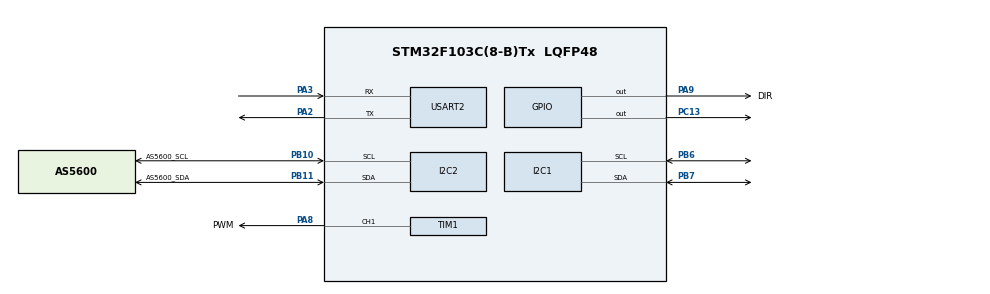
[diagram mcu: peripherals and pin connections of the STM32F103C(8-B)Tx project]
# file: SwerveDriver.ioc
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Dma.Request0=USART2_RX
Dma.USART2_RX.0.Direction=DMA_PERIPH_TO_MEMORY
Dma.USART2_RX.0.Instance=DMA1_Channel6
Dma.USART2_RX.0.MemDataAlignment=DMA_MDATAALIGN_BYTE
Dma.USART2_RX.0.MemInc=DMA_MINC_ENABLE
Dma.USART2_RX.0.Mode=DMA_CIRCULAR
Dma.USART2_RX.0.PeriphDataAlignment=DMA_PDATAALIGN_BYTE
Dma.USART2_RX.0.PeriphInc=DMA_PINC_DISABLE
Dma.USART2_RX.0.Priority=DMA_PRIORITY_LOW
I2C1.GeneralCallMode=I2C_GENERALCALL_ENABLE
I2C1.OwnAddress=0x15
Mcu.Family=STM32F1
Mcu.Name=STM32F103C(8-B)Tx
Mcu.Package=LQFP48
NVIC.DMA1_Channel6_IRQn=true\:0\:0\:false\:false\:true\:false\:true\:true
NVIC.I2C1_ER_IRQn=true\:0\:0\:false\:false\:true\:true\:true\:true
NVIC.I2C1_EV_IRQn=true\:0\:0\:false\:false\:true\:true\:true\:true
NVIC.I2C2_ER_IRQn=true\:0\:1\:true\:false\:true\:true\:true\:true
NVIC.I2C2_EV_IRQn=true\:0\:1\:true\:false\:true\:true\:true\:true
NVIC.PriorityGroup=NVIC_PRIORITYGROUP_2
NVIC.TIM1_CC_IRQn=true\:0\:1\:true\:false\:true\:true\:true\:true
NVIC.TIM1_UP_IRQn=true\:0\:1\:true\:false\:true\:true\:true\:true
NVIC.USART2_IRQn=true\:0\:0\:false\:false\:true\:true\:true\:true
PA13.Mode=Trace_Asynchronous_SW
PA13.Signal=SYS_JTMS-SWDIO
PA14.Mode=Trace_Asynchronous_SW
PA14.Signal=SYS_JTCK-SWCLK
PA2.Mode=Asynchronous
PA2.Signal=USART2_TX
PA3.Mode=Asynchronous
PA3.Signal=USART2_RX
PA8.GPIO_Label=PWM
PA8.GPIO_Speed=GPIO_SPEED_FREQ_MEDIUM
PA8.Signal=S_TIM1_CH1
PA9.GPIO_Label=DIR
PA9.Signal=GPIO_Output
PB10.GPIO_Label=AS5600_SCL
PB10.Mode=I2C
PB10.Signal=I2C2_SCL
PB11.GPIO_Label=AS5600_SDA
PB11.Mode=I2C
PB11.Signal=I2C2_SDA
PB3.Mode=Trace_Asynchronous_SW
PB3.Signal=SYS_JTDO-TRACESWO
PB6.Mode=I2C
PB6.Signal=I2C1_SCL
PB7.Mode=I2C
PB7.Signal=I2C1_SDA
PC13-TAMPER-RTC.GPIO_Speed=GPIO_SPEED_FREQ_HIGH
PC13-TAMPER-RTC.Signal=GPIO_Output
PD0-OSC_IN.Mode=HSE-External-Oscillator
PD0-OSC_IN.Signal=RCC_OSC_IN
PD1-OSC_OUT.Mode=HSE-External-Oscillator
PD1-OSC_OUT.Signal=RCC_OSC_OUT
ProjectManager.HeapSize=0x200
ProjectManager.StackSize=0x400
ProjectManager.TargetToolchain=Makefile
RCC.APB1Freq_Value=8000000
RCC.APB2Freq_Value=8000000
SH.S_TIM1_CH1.0=TIM1_CH1,PWM Generation1 CH1
TIM1.AutoReloadPreload=TIM_AUTORELOAD_PRELOAD_ENABLE
TIM1.Channel-PWM\ Generation1\ CH1=TIM_CHANNEL_1
TIM1.OCPolarity_1=TIM_OCPOLARITY_LOW
USART2.VirtualMode=VM_ASYNC
VP_TIM1_VS_ClockSourceINT.Mode=Internal
board=custom

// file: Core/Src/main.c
/* USER CODE BEGIN Header */
/**
 ******************************************************************************
 * @file           : main.c
 * @brief          : Main program body
 ******************************************************************************
 * @attention
 *
 * Copyright (c) 2023 STMicroelectronics.
 * All rights reserved.
 *
 * This software is licensed under terms that can be found in the LICENSE file
 * in the root directory of this software component.
 * If no LICENSE file comes with this software, it is provided AS-IS.
 *
 ******************************************************************************
 */
/* USER CODE END Header */
#include "main.h"

/* USER CODE BEGIN Includes */
#include "as5600.h"
#include "pid.h"
#include "math.h"
#include "stdbool.h"
#include "stdio.h"
#include "i2c_slave.h"
// #include "motor_control.h"

/* USER CODE END Includes */

/* USER CODE BEGIN PTD */
PID_TypeDef RPID;

/* USER CODE END PTD */

/* USER CODE BEGIN PD */
#define AS5600_1_AInit 180
#define PWM_Freq 5000

/* USER CODE END PD */

I2C_HandleTypeDef hi2c1;
I2C_HandleTypeDef hi2c2;

TIM_HandleTypeDef htim1;

UART_HandleTypeDef huart2;
DMA_HandleTypeDef hdma_usart2_rx;

/* USER CODE BEGIN PV */
uint8_t checkAS = 1;
uint32_t count = 0;
uint32_t period;

// vaiables for AS5600
float Angle = 180.0f;

// variables for PID
double Angle_Temp, PIDOut, TempSetpoint;
float Kp, Ki, Kd;

// variables for I2C slave
uint16_t Self_Address = 0x15 << 1;
bool I2C_flag = 0;
bool Init_Flag = 1;

/* USER CODE END PV */

void SystemClock_Config(void);
static void MX_GPIO_Init(void);
static void MX_DMA_Init(void);
static void MX_TIM1_Init(void);
static void MX_I2C2_Init(void);
static void MX_USART2_UART_Init(void);
static void MX_I2C1_Init(void);

/* USER CODE BEGIN 0 */
void PID_Setup()
{
  PID(&RPID, &Angle_Temp, &PIDOut, &TempSetpoint, 3, 0.2, 0.0001, _PID_P_ON_E, _PID_CD_DIRECT);
  PID_SetMode(&RPID, _PID_MODE_AUTOMATIC);
  PID_SetSampleTime(&RPID, 1);
  PID_SetOutputLimits(&RPID, -20, 20);
  TempSetpoint = AS5600_1_AInit;
}

void Config_Tim1PWM()
{
  uint32_t period = (SystemCoreClock / PWM_Freq) - 1;
  htim1.Instance->ARR = period;
}

void PWM_Gen(uint8_t channel, uint32_t duty)
{
  switch (channel)
  {
  case 1:
    duty == 0 ? HAL_TIM_PWM_Stop(&htim1, TIM_CHANNEL_1) : HAL_TIM_PWM_Start(&htim1, TIM_CHANNEL_1);
    htim1.Instance->CCR1 = (period * duty) / 100;
    break;
  case 2:
    duty == 0 ? HAL_TIM_PWM_Stop(&htim1, TIM_CHANNEL_2) : HAL_TIM_PWM_Start(&htim1, TIM_CHANNEL_2);
    htim1.Instance->CCR2 = (period * duty) / 100;
    break;
  case 3:
    duty == 0 ? HAL_TIM_PWM_Stop(&htim1, TIM_CHANNEL_3) : HAL_TIM_PWM_Start(&htim1, TIM_CHANNEL_3);
    htim1.Instance->CCR3 = (period * duty) / 100;
    break;
  case 4:
    duty == 0 ? HAL_TIM_PWM_Stop(&htim1, TIM_CHANNEL_4) : HAL_TIM_PWM_Start(&htim1, TIM_CHANNEL_4);
    htim1.Instance->CCR4 = (period * duty) / 100;
    break;
  case 0:
    HAL_TIM_PWM_Stop(&htim1, TIM_CHANNEL_ALL);
    HAL_TIM_Base_Stop_IT(&htim1);
    break;
  default:
    break;
  }
}

void PID_Control()
{
  Angle_Temp = AS5600_GetAngle();
  PID_Compute(&RPID);
  HAL_GPIO_WritePin(DIR_GPIO_Port, DIR_Pin, PIDOut < 0);
  PWM_Gen(1, fabs(PIDOut));
}

void HAL_TIM_PeriodElapsedCallback(TIM_HandleTypeDef *htim)
{
  if (htim->Instance == TIM1)
  {
    PID_Compute(&RPID);
  }
}

/* USER CODE END 0 */

int main(void)
{

  /* MCU Configuration--------------------------------------------------------*/

  /* Reset of all peripherals, Initializes the Flash interface and the Systick. */
  HAL_Init();

  /* Configure the system clock */
  SystemClock_Config();

  /* Initialize all configured peripherals */
  MX_GPIO_Init();
  MX_DMA_Init();
  MX_TIM1_Init();
  MX_I2C2_Init();
  MX_USART2_UART_Init();
  MX_I2C1_Init();
  /* USER CODE BEGIN 2 */
  Config_Tim1PWM();
  HAL_TIM_Base_Start_IT(&htim1);
  HAL_TIM_PWM_Start(&htim1, TIM_CHANNEL_1);

  PID_Setup();

  HAL_GPIO_WritePin(GPIOC, GPIO_PIN_13, 0);

  if (HAL_I2C_EnableListen_IT(&hi2c1) != HAL_OK)
  {
    Error_Handler();
  }

  /* USER CODE END 2 */

  /* Infinite loop */
  /* USER CODE BEGIN WHILE */
  while (1)
  {

    TempSetpoint = (double)Return_Data();
    PID_Control();
    /* USER CODE END WHILE */

  }
}

void SystemClock_Config(void)
{
  RCC_OscInitTypeDef RCC_OscInitStruct = {0};
  RCC_ClkInitTypeDef RCC_ClkInitStruct = {0};

  /** Initializes the RCC Oscillators according to the specified parameters
   * in the RCC_OscInitTypeDef structure.
   */
  RCC_OscInitStruct.OscillatorType = RCC_OSCILLATORTYPE_HSI;
  RCC_OscInitStruct.HSIState = RCC_HSI_ON;
  RCC_OscInitStruct.HSICalibrationValue = RCC_HSICALIBRATION_DEFAULT;
  RCC_OscInitStruct.PLL.PLLState = RCC_PLL_NONE;
  if (HAL_RCC_OscConfig(&RCC_OscInitStruct) != HAL_OK)
  {
    Error_Handler();
  }

  /** Initializes the CPU, AHB and APB buses clocks
   */
  RCC_ClkInitStruct.ClockType = RCC_CLOCKTYPE_HCLK | RCC_CLOCKTYPE_SYSCLK | RCC_CLOCKTYPE_PCLK1 | RCC_CLOCKTYPE_PCLK2;
  RCC_ClkInitStruct.SYSCLKSource = RCC_SYSCLKSOURCE_HSI;
  RCC_ClkInitStruct.AHBCLKDivider = RCC_SYSCLK_DIV1;
  RCC_ClkInitStruct.APB1CLKDivider = RCC_HCLK_DIV1;
  RCC_ClkInitStruct.APB2CLKDivider = RCC_HCLK_DIV1;

  if (HAL_RCC_ClockConfig(&RCC_ClkInitStruct, FLASH_LATENCY_0) != HAL_OK)
  {
    Error_Handler();
  }
}

static void MX_I2C1_Init(void)
{

  hi2c1.Instance = I2C1;
  hi2c1.Init.ClockSpeed = 100000;
  hi2c1.Init.DutyCycle = I2C_DUTYCYCLE_2;
  hi2c1.Init.OwnAddress1 = 42;
  hi2c1.Init.AddressingMode = I2C_ADDRESSINGMODE_7BIT;
  hi2c1.Init.DualAddressMode = I2C_DUALADDRESS_DISABLE;
  hi2c1.Init.OwnAddress2 = 0;
  hi2c1.Init.GeneralCallMode = I2C_GENERALCALL_ENABLE;
  hi2c1.Init.NoStretchMode = I2C_NOSTRETCH_DISABLE;
  if (HAL_I2C_Init(&hi2c1) != HAL_OK)
  {
    Error_Handler();
  }
}

static void MX_I2C2_Init(void)
{

  hi2c2.Instance = I2C2;
  hi2c2.Init.ClockSpeed = 100000;
  hi2c2.Init.DutyCycle = I2C_DUTYCYCLE_2;
  hi2c2.Init.OwnAddress1 = 0;
  hi2c2.Init.AddressingMode = I2C_ADDRESSINGMODE_7BIT;
  hi2c2.Init.DualAddressMode = I2C_DUALADDRESS_DISABLE;
  hi2c2.Init.OwnAddress2 = 0;
  hi2c2.Init.GeneralCallMode = I2C_GENERALCALL_DISABLE;
  hi2c2.Init.NoStretchMode = I2C_NOSTRETCH_DISABLE;
  if (HAL_I2C_Init(&hi2c2) != HAL_OK)
  {
    Error_Handler();
  }
}

static void MX_TIM1_Init(void)
{

  TIM_ClockConfigTypeDef sClockSourceConfig = {0};
  TIM_MasterConfigTypeDef sMasterConfig = {0};
  TIM_OC_InitTypeDef sConfigOC = {0};
  TIM_BreakDeadTimeConfigTypeDef sBreakDeadTimeConfig = {0};

  htim1.Instance = TIM1;
  htim1.Init.Prescaler = 0;
  htim1.Init.CounterMode = TIM_COUNTERMODE_UP;
  htim1.Init.Period = 65535;
  htim1.Init.ClockDivision = TIM_CLOCKDIVISION_DIV1;
  htim1.Init.RepetitionCounter = 0;
  htim1.Init.AutoReloadPreload = TIM_AUTORELOAD_PRELOAD_ENABLE;
  if (HAL_TIM_Base_Init(&htim1) != HAL_OK)
  {
    Error_Handler();
  }
  sClockSourceConfig.ClockSource = TIM_CLOCKSOURCE_INTERNAL;
  if (HAL_TIM_ConfigClockSource(&htim1, &sClockSourceConfig) != HAL_OK)
  {
    Error_Handler();
  }
  if (HAL_TIM_PWM_Init(&htim1) != HAL_OK)
  {
    Error_Handler();
  }
  sMasterConfig.MasterOutputTrigger = TIM_TRGO_RESET;
  sMasterConfig.MasterSlaveMode = TIM_MASTERSLAVEMODE_DISABLE;
  if (HAL_TIMEx_MasterConfigSynchronization(&htim1, &sMasterConfig) != HAL_OK)
  {
    Error_Handler();
  }
  sConfigOC.OCMode = TIM_OCMODE_PWM1;
  sConfigOC.Pulse = 0;
  sConfigOC.OCPolarity = TIM_OCPOLARITY_LOW;
  sConfigOC.OCNPolarity = TIM_OCNPOLARITY_HIGH;
  sConfigOC.OCFastMode = TIM_OCFAST_DISABLE;
  sConfigOC.OCIdleState = TIM_OCIDLESTATE_RESET;
  sConfigOC.OCNIdleState = TIM_OCNIDLESTATE_RESET;
  if (HAL_TIM_PWM_ConfigChannel(&htim1, &sConfigOC, TIM_CHANNEL_1) != HAL_OK)
  {
    Error_Handler();
  }
  sBreakDeadTimeConfig.OffStateRunMode = TIM_OSSR_DISABLE;
  sBreakDeadTimeConfig.OffStateIDLEMode = TIM_OSSI_DISABLE;
  sBreakDeadTimeConfig.LockLevel = TIM_LOCKLEVEL_OFF;
  sBreakDeadTimeConfig.DeadTime = 0;
  sBreakDeadTimeConfig.BreakState = TIM_BREAK_DISABLE;
  sBreakDeadTimeConfig.BreakPolarity = TIM_BREAKPOLARITY_HIGH;
  sBreakDeadTimeConfig.AutomaticOutput = TIM_AUTOMATICOUTPUT_DISABLE;
  if (HAL_TIMEx_ConfigBreakDeadTime(&htim1, &sBreakDeadTimeConfig) != HAL_OK)
  {
    Error_Handler();
  }
  HAL_TIM_MspPostInit(&htim1);
}

static void MX_USART2_UART_Init(void)
{

  huart2.Instance = USART2;
  huart2.Init.BaudRate = 115200;
  huart2.Init.WordLength = UART_WORDLENGTH_8B;
  huart2.Init.StopBits = UART_STOPBITS_1;
  huart2.Init.Parity = UART_PARITY_NONE;
  huart2.Init.Mode = UART_MODE_TX_RX;
  huart2.Init.HwFlowCtl = UART_HWCONTROL_NONE;
  huart2.Init.OverSampling = UART_OVERSAMPLING_16;
  if (HAL_UART_Init(&huart2) != HAL_OK)
  {
    Error_Handler();
  }
}

static void MX_DMA_Init(void)
{

  /* DMA controller clock enable */
  __HAL_RCC_DMA1_CLK_ENABLE();

  /* DMA interrupt init */
  /* DMA1_Channel6_IRQn interrupt configuration */
  HAL_NVIC_SetPriority(DMA1_Channel6_IRQn, 0, 0);
  HAL_NVIC_EnableIRQ(DMA1_Channel6_IRQn);
}

static void MX_GPIO_Init(void)
{
  GPIO_InitTypeDef GPIO_InitStruct = {0};

  /* GPIO Ports Clock Enable */
  __HAL_RCC_GPIOC_CLK_ENABLE();
  __HAL_RCC_GPIOD_CLK_ENABLE();
  __HAL_RCC_GPIOA_CLK_ENABLE();
  __HAL_RCC_GPIOB_CLK_ENABLE();

  /*Configure GPIO pin Output Level */
  HAL_GPIO_WritePin(GPIOC, GPIO_PIN_13, GPIO_PIN_RESET);

  /*Configure GPIO pin Output Level */
  HAL_GPIO_WritePin(DIR_GPIO_Port, DIR_Pin, GPIO_PIN_RESET);

  /*Configure GPIO pin : PC13 */
  GPIO_InitStruct.Pin = GPIO_PIN_13;
  GPIO_InitStruct.Mode = GPIO_MODE_OUTPUT_PP;
  GPIO_InitStruct.Pull = GPIO_NOPULL;
  GPIO_InitStruct.Speed = GPIO_SPEED_FREQ_HIGH;
  HAL_GPIO_Init(GPIOC, &GPIO_InitStruct);

  /*Configure GPIO pin : DIR_Pin */
  GPIO_InitStruct.Pin = DIR_Pin;
  GPIO_InitStruct.Mode = GPIO_MODE_OUTPUT_PP;
  GPIO_InitStruct.Pull = GPIO_NOPULL;
  GPIO_InitStruct.Speed = GPIO_SPEED_FREQ_LOW;
  HAL_GPIO_Init(DIR_GPIO_Port, &GPIO_InitStruct);

}

void Error_Handler(void)
{
  __disable_irq();
  while (1)
  {
  }
}
